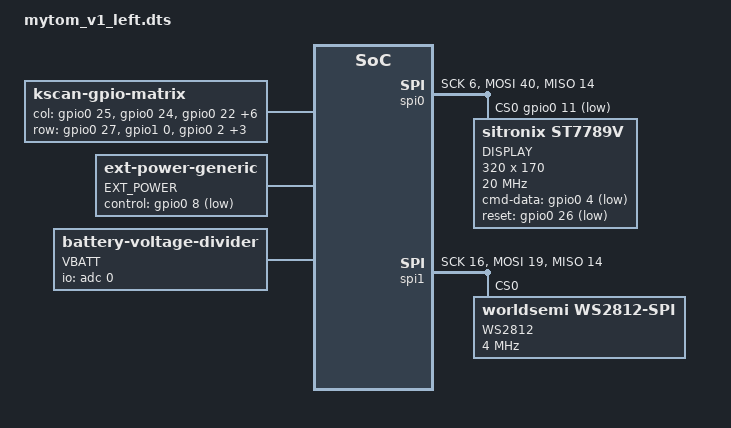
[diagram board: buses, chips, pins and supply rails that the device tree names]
/*
* Copyright (c) 2021 The ZMK Contributors
*
* SPDX-License-Identifier: MIT
*/

/dts-v1/;
#include "mytom_v1.dtsi"
#include <dt-bindings/led/led.h>


/ {
	chosen {
		zmk,kscan = &kscan0;
		zmk,matrix_transform = &default_transform;
		zmk,underglow = &led_strip;
		zmk,battery = &vbatt;
	};

	kscan0: kscan_0 {
		compatible = "zmk,kscan-gpio-matrix";
		label = "KSCAN";
		diode-direction = "col2row";

		col-gpios
			= <&gpio0 25 GPIO_ACTIVE_HIGH>
			, <&gpio0 24 GPIO_ACTIVE_HIGH>
			, <&gpio0 22 GPIO_ACTIVE_HIGH>
			, <&gpio0 20 GPIO_ACTIVE_HIGH> //
			, <&gpio0 23 GPIO_ACTIVE_HIGH> //
			, <&gpio0 21 GPIO_ACTIVE_HIGH> //
			, <&gpio0 17 GPIO_ACTIVE_HIGH> //
			, <&gpio0 15 GPIO_ACTIVE_HIGH> //
			, <&gpio0 13 GPIO_ACTIVE_HIGH> //
			;

		row-gpios
			= <&gpio0 27 (GPIO_ACTIVE_HIGH | GPIO_PULL_DOWN)>
			, <&gpio1 0  (GPIO_ACTIVE_HIGH | GPIO_PULL_DOWN)>
			, <&gpio0 2  (GPIO_ACTIVE_HIGH | GPIO_PULL_DOWN)>
			, <&gpio0 29 (GPIO_ACTIVE_HIGH | GPIO_PULL_DOWN)> //
			, <&gpio0 28 (GPIO_ACTIVE_HIGH | GPIO_PULL_DOWN)>
			, <&gpio0 30 (GPIO_ACTIVE_HIGH | GPIO_PULL_DOWN)>
			;
	};

	ext-power {
		compatible = "zmk,ext-power-generic";
		label = "EXT_POWER";
		control-gpios = <&gpio0 8 GPIO_ACTIVE_LOW>;   /*0.07*/
	};

	vbatt: vbatt {
		compatible = "zmk,battery-voltage-divider";
		label = "VBATT";
		io-channels = <&adc 0>;
		output-ohms = <2000000>;
		full-ohms = <(2000000 + 820000)>;
	};
};

&spi0 {
	status = "okay";

	sck-pin  = <6>;    /* SCK */
	mosi-pin = <40>;   /* MOSI */
	miso-pin = <14>;   /* MISO */ 
	cs-gpios = <&gpio0 11 GPIO_ACTIVE_LOW>;  /* CS */

	st7789v: st7789v@0 {
		compatible = "sitronix,st7789v";
		label = "DISPLAY";
		spi-max-frequency = <20000000>;
		reg = <0>;

		cmd-data-gpios = <&gpio0 4 GPIO_ACTIVE_LOW>;  /* DC    */
		reset-gpios = <&gpio0 26 GPIO_ACTIVE_LOW>;    /* RESET */

		width = <320>;
		height = <170>;
		x-offset = <0>;
		y-offset = <35>;
		vcom = <0x2b>;
		gctrl = <0x35>;
		vrhs = <0x0f>;
		vdvs = <0x20>;
		mdac = <0x60>;
		gamma = <0x01>;
		colmod = <0x55>;
		lcm = <0x2c>;
		porch-param = [0c 0c 00 33 33];
		cmd2en-param = [5a 69 02 01];
		pwctrl1-param = [52 a1];
		pvgam-param = [D0 00 02 07 0B 1A 31 54 40 29 12 12 12 17];
		nvgam-param = [D0 00 02 07 05 15 2D 44 44 1C 18 16 1C 1D];
		ram-param = [00 F8];
		rgb-param = [CD 08 14];
		
	};
 };

&spi1 {
	status = "okay";

	mosi-pin = <19>;
	// Unused pins, needed for SPI definition, but not used by the ws2812 driver itself.
	sck-pin = <16>;
	miso-pin = <14>;

	led_strip: ws2812@0 {
		compatible = "worldsemi,ws2812-spi";
		label = "WS2812";

		/* SPI */
		reg = <0>; /* ignored, but necessary for SPI bindings */
		spi-max-frequency = <4000000>;

		/* WS2812 */
		chain-length = <8>; /* LED strip length */
		spi-one-frame = <0x70>;
		spi-zero-frame = <0x40>;
		color-mapping = <LED_COLOR_ID_GREEN LED_COLOR_ID_RED LED_COLOR_ID_BLUE>;
	};
};
